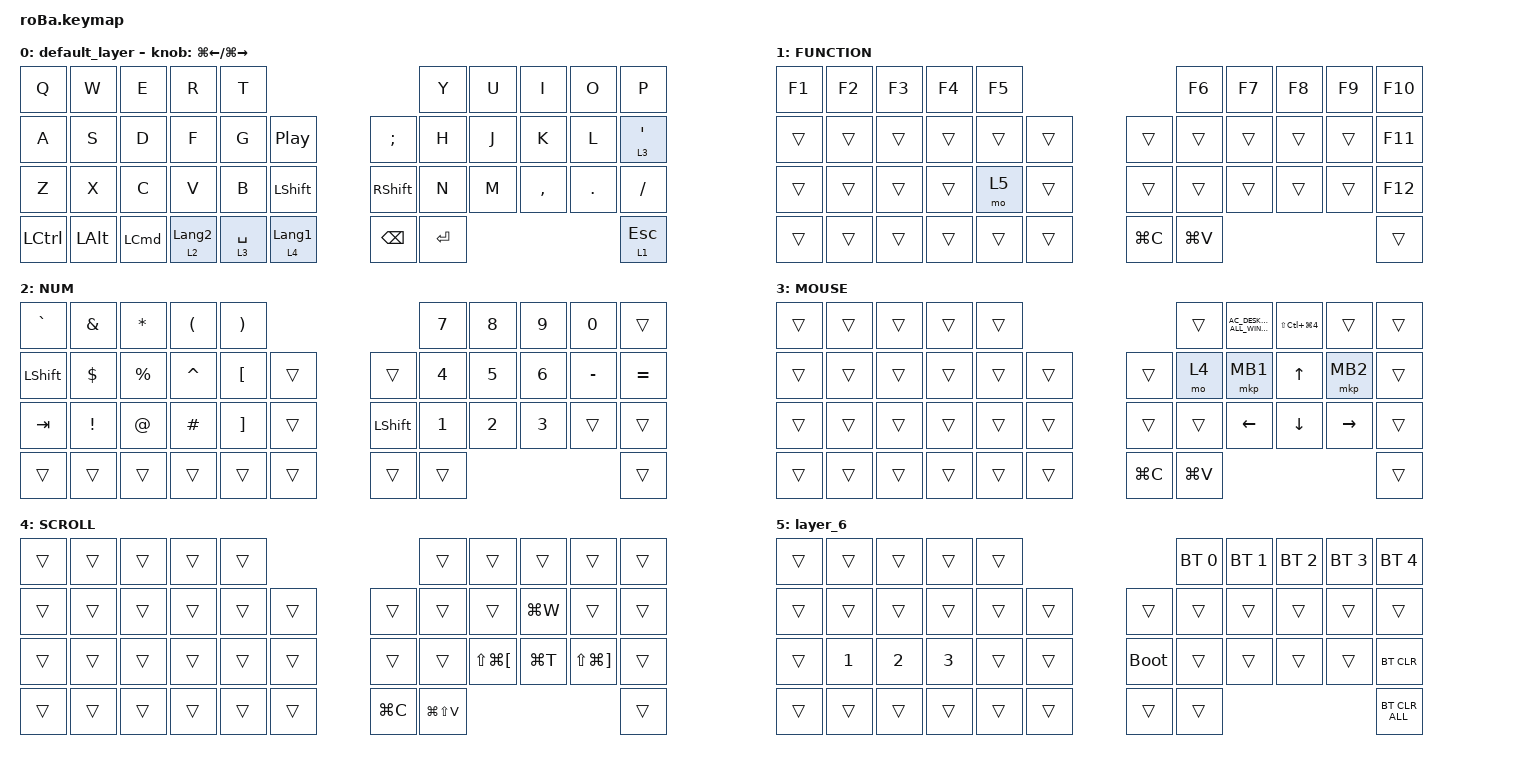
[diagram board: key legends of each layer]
#include <behaviors.dtsi>
#include <dt-bindings/zmk/bt.h>
#include <dt-bindings/zmk/keys.h>
#include <dt-bindings/zmk/pointing.h>

/* require-prior-idle-ms が肝。
   「直前の打鍵から 150ms 経っていなければ、判定を待たずに必ずタップにする」
   これが無いと、A や Space のような高頻度キーで毎回 200ms の判定待ちが発生し、
   タイピングが追いつかなくなる。
   ・まだ取りこぼすなら 150 → 200 と上げる
   ・逆にレイヤーに入りにくいと感じたら 100 に下げる */

&mt {
    flavor = "balanced";
    tapping-term-ms = <200>;
    quick-tap-ms = <175>;
    require-prior-idle-ms = <150>;
};

&lt {
    flavor = "balanced";
    tapping-term-ms = <200>;
    quick-tap-ms = <175>;
    require-prior-idle-ms = <50>;
};

&trackball {
    //automouse-layer = <4>;

    scroll-layers = <4>;

    // arrows {
    //     layers = <3>;
    //     bindings =
    //         <&kp RIGHT_ARROW>,
    //         <&kp LEFT_ARROW>,
    //         <&kp UP_ARROW>,
    //         <&kp DOWN_ARROW>;
    //     tick = <10>;
    //     wait-ms = <5>;
    //     tap-ms = <5>;
    // };
};

/ {
    combos {
        compatible = "zmk,combos";

        /* ★ require-prior-idle-ms は消さないこと ★
           KeymapEditor でコンボを編集すると、この行は毎回削除される。
           編集したら GitHub でこの行を戻すこと。

           役割: 直前にこの時間だけ打鍵が無ければコンボを受け付ける。
           これが無いと、構成キー（C V M , . ）は押すたびに
           「相方が来るか」を待って保留され、高速入力でキーが抜ける。
           位置をどこへ移しても、この保留自体は無くならない。

           ・コンボが出にくい → 80, 50 と下げる
           ・まだキーが抜ける → 150 と上げる

           timeout-ms = 相方を待つ時間。既定 50 を 30 に短縮してある。
           待つ時間が短いほど、構成キーが詰まりにくい。
           コンボが成立しにくければ 40, 50 と戻す */

        minus {
            bindings = <&kp MINUS>;
            key-positions = <24 25>;
            layers = <0>;
            require-prior-idle-ms = <100>;
            timeout-ms = <40>;
        };

        question {
            bindings = <&kp QUESTION>;
            key-positions = <30 31>;
            layers = <0>;
            require-prior-idle-ms = <100>;
            timeout-ms = <40>;
        };

        Exclamation {
            bindings = <&kp EXCLAMATION>;
            key-positions = <31 32>;
            layers = <0>;
            require-prior-idle-ms = <100>;
            timeout-ms = <40>;
        };
    };

    macros {
        to_layer_0: to_layer_0 {
            compatible = "zmk,behavior-macro-one-param";
            #binding-cells = <1>;
            bindings = <&to 0 &macro_param_1to1 &kp MACRO_PLACEHOLDER>;
            label = "TO_LAYER_0";
        };
    };

    behaviors {
        lt_to_layer_0: lt_to_layer_0 {
            compatible = "zmk,behavior-hold-tap";
            label = "LAYER_TAP_TO_0";
            bindings = <&mo>, <&to_layer_0>;

            #binding-cells = <2>;
            tapping-term-ms = <200>;

            /* flavor 未指定だと ZMK 既定の hold-preferred になり、
               「他キーを押した瞬間にレイヤー確定」という最も誤爆しやすい動作になる。
               英数・かなは日本語入力で連打するので、明示的に balanced にする */

            flavor = "balanced";
            quick-tap-ms = <175>;
            require-prior-idle-ms = <80>;
        };

        /* エンコーダで本物のマウスホイールを送る。
           &kp 系のキーコード（C_AC_SCROLL_UP など）は macOS が解釈しないため、
           ポインティング用の &msc を呼び出す。
           ・回す向きが逆なら SCRL_UP と SCRL_DOWN を入れ替える
           ・1ノッチあたりのスクロール量が足りなければ tap-ms を増やす
           ※ KeymapEditor で保存するとこの定義が消えるので注意 */
    };

    keymap {
        compatible = "zmk,keymap";

        default_layer {
            bindings = <
&kp Q      &kp W         &kp E             &kp R                        &kp T                                                          &kp Y      &kp U  &kp I      &kp O       &kp P
&kp A      &kp S         &kp D             &kp F                        &kp G        &kp C_PLAY_PAUSE                 &kp SEMICOLON    &kp H      &kp J  &kp K      &kp L       &lt 3 SQT
&kp Z      &kp X         &kp C             &kp V                        &kp B        &kp LEFT_SHIFT                   &kp RIGHT_SHIFT  &kp N      &kp M  &kp COMMA  &kp PERIOD  &kp SLASH
&kp LCTRL  &kp LEFT_ALT  &kp LEFT_COMMAND  &lt_to_layer_0 2 LANGUAGE_2  &lt 3 SPACE  &lt_to_layer_0 4 LANGUAGE_1      &kp BACKSPACE    &kp ENTER                                &lt 1 ESCAPE
            >;

            sensor-bindings = <&inc_dec_kp LG(LEFT_ARROW) LG(RIGHT_ARROW)>;
        };

        FUNCTION {
            bindings = <
&kp F1  &kp F2  &kp F3  &kp F4  &kp F5                         &kp F6     &kp F7  &kp F8  &kp F9  &kp F10
&trans  &trans  &trans  &trans  &trans  &trans      &trans     &trans     &trans  &trans  &trans  &kp F11
&trans  &trans  &trans  &trans  &mo 5   &trans      &trans     &trans     &trans  &trans  &trans  &kp F12
&trans  &trans  &trans  &trans  &trans  &trans      &kp LG(C)  &kp LG(V)                          &trans
            >;
        };

        NUM {
            bindings = <
&kp GRAVE       &kp AMPERSAND    &kp ASTERISK  &kp LEFT_PARENTHESIS  &kp RIGHT_PARENTHESIS                              &kp N7        &kp N8        &kp N9        &kp N0     &trans
&kp LEFT_SHIFT  &kp DOLLAR       &kp PERCENT   &kp CARET             &kp LEFT_BRACKET       &trans      &trans          &kp NUMBER_4  &kp N5        &kp NUMBER_6  &kp MINUS  &kp EQUAL
&kp TAB         &kp EXCLAMATION  &kp AT_SIGN   &kp HASH              &kp RIGHT_BRACKET      &trans      &kp LEFT_SHIFT  &kp NUMBER_1  &kp NUMBER_2  &kp NUMBER_3  &trans     &trans
&trans          &trans           &trans        &trans                &trans                 &trans      &trans          &trans                                               &trans
            >;
        };

        MOUSE {
            bindings = <
&trans  &trans  &trans  &trans  &trans                         &trans     &kp C_AC_DESKTOP_SHOW_ALL_WINDOWS  &kp LS(LC(LG(NUMBER_4)))  &trans           &trans
&trans  &trans  &trans  &trans  &trans  &trans      &trans     &mo 4      &mkp MB1                           &kp UP_ARROW              &mkp MB2         &trans
&trans  &trans  &trans  &trans  &trans  &trans      &trans     &trans     &kp LEFT_ARROW                     &kp DOWN_ARROW            &kp RIGHT_ARROW  &trans
&trans  &trans  &trans  &trans  &trans  &trans      &kp LG(C)  &kp LG(V)                                                                                &trans
            >;
        };

        SCROLL {
            bindings = <
&trans  &trans  &trans  &trans  &trans                         &trans         &trans                    &trans     &trans                     &trans
&trans  &trans  &trans  &trans  &trans  &trans      &trans     &trans         &trans                    &kp LG(W)  &trans                     &trans
&trans  &trans  &trans  &trans  &trans  &trans      &trans     &trans         &kp LS(LG(LEFT_BRACKET))  &kp LG(T)  &kp LS(LG(RIGHT_BRACKET))  &trans
&trans  &trans  &trans  &trans  &trans  &trans      &kp LG(C)  &kp LG(LS(V))                                                                  &trans
            >;
        };

        layer_6 {
            bindings = <
&trans  &trans        &trans        &trans        &trans                           &bt BT_SEL 0  &bt BT_SEL 1  &bt BT_SEL 2  &bt BT_SEL 3  &bt BT_SEL 4
&trans  &trans        &trans        &trans        &trans  &trans      &trans       &trans        &trans        &trans        &trans        &trans
&trans  &kp NUMBER_1  &kp NUMBER_2  &kp NUMBER_3  &trans  &trans      &bootloader  &trans        &trans        &trans        &trans        &bt BT_CLR
&trans  &trans        &trans        &trans        &trans  &trans      &trans       &trans                                                  &bt BT_CLR_ALL
            >;
        };
    };
};
